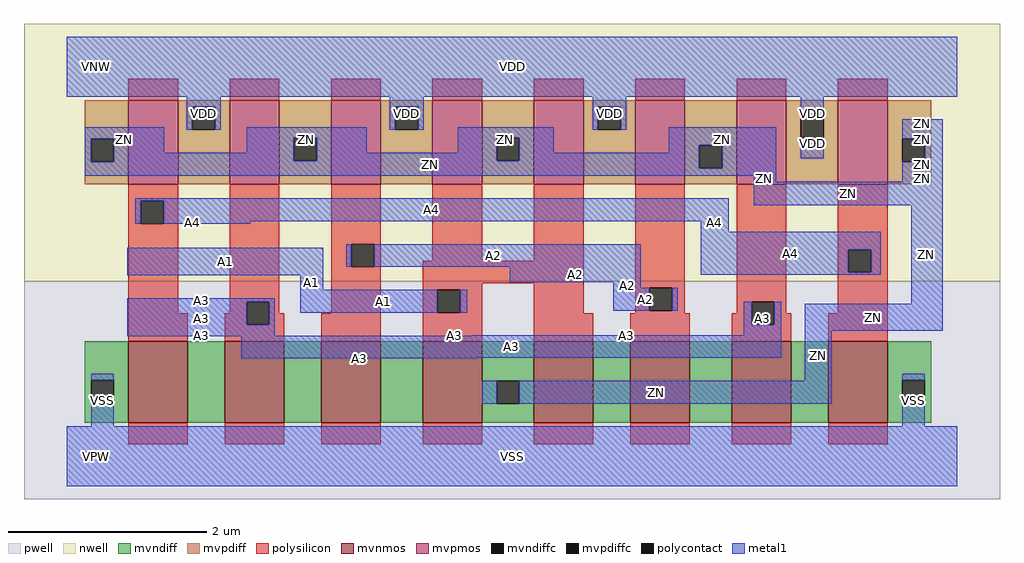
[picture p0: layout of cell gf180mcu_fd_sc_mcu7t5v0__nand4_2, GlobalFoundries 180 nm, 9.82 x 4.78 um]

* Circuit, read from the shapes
.subckt gf180mcu_fd_sc_mcu7t5v0__nand4_2 A1 A2 A3 A4 ZN VDD VNW VPW VSS
XM1 n1 A4 VSS VPW nfet_06v0 w=0.82u l=0.6u
XM2 n2 A3 n1 VPW nfet_06v0 w=0.82u l=0.6u
XM3 n3 A2 n2 VPW nfet_06v0 w=0.82u l=0.6u
XM4 ZN A1 n3 VPW nfet_06v0 w=0.82u l=0.6u
XM5 n4 A1 ZN VPW nfet_06v0 w=0.82u l=0.6u
XM6 n5 A2 n4 VPW nfet_06v0 w=0.82u l=0.6u
XM7 n6 A3 n5 VPW nfet_06v0 w=0.82u l=0.6u
XM8 VSS A4 n6 VPW nfet_06v0 w=0.82u l=0.6u
XM9 VDD A4 ZN VNW pfet_06v0 w=0.845u l=0.5u m=2
XM10 ZN A3 VDD VNW pfet_06v0 w=0.845u l=0.5u m=2
XM11 VDD A2 ZN VNW pfet_06v0 w=0.845u l=0.5u m=2
XM12 ZN A1 VDD VNW pfet_06v0 w=0.845u l=0.5u m=2
.ends

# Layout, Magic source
magic
tech gf180mcuD
magscale 1 10
<< nwell >>
rect -86 352 1878 870
<< pwell >>
rect -86 -86 1878 352
<< mvnmos >>
rect 124 68 244 232
rect 318 68 438 232
rect 512 68 632 232
rect 716 68 836 232
rect 940 68 1060 232
rect 1134 68 1254 232
rect 1338 68 1458 232
rect 1532 68 1652 232
<< mvpmos >>
rect 124 547 224 716
rect 328 547 428 716
rect 532 547 632 716
rect 736 547 836 716
rect 940 547 1040 716
rect 1144 547 1244 716
rect 1348 547 1448 716
rect 1552 547 1652 716
<< mvndiff >>
rect 36 153 124 232
rect 36 107 49 153
rect 95 107 124 153
rect 36 68 124 107
rect 244 68 318 232
rect 438 68 512 232
rect 632 68 716 232
rect 836 152 940 232
rect 836 106 865 152
rect 911 106 940 152
rect 836 68 940 106
rect 1060 68 1134 232
rect 1254 68 1338 232
rect 1458 68 1532 232
rect 1652 153 1740 232
rect 1652 107 1681 153
rect 1727 107 1740 153
rect 1652 68 1740 107
<< mvpdiff >>
rect 36 639 124 716
rect 36 593 49 639
rect 95 593 124 639
rect 36 547 124 593
rect 224 703 328 716
rect 224 657 253 703
rect 299 657 328 703
rect 224 547 328 657
rect 428 641 532 716
rect 428 595 457 641
rect 503 595 532 641
rect 428 547 532 595
rect 632 703 736 716
rect 632 657 661 703
rect 707 657 736 703
rect 632 547 736 657
rect 836 641 940 716
rect 836 595 865 641
rect 911 595 940 641
rect 836 547 940 595
rect 1040 703 1144 716
rect 1040 657 1069 703
rect 1115 657 1144 703
rect 1040 547 1144 657
rect 1244 626 1348 716
rect 1244 580 1273 626
rect 1319 580 1348 626
rect 1244 547 1348 580
rect 1448 687 1552 716
rect 1448 641 1477 687
rect 1523 641 1552 687
rect 1448 547 1552 641
rect 1652 639 1740 716
rect 1652 593 1681 639
rect 1727 593 1740 639
rect 1652 547 1740 593
<< mvndiffc >>
rect 49 107 95 153
rect 865 106 911 152
rect 1681 107 1727 153
<< mvpdiffc >>
rect 49 593 95 639
rect 253 657 299 703
rect 457 595 503 641
rect 661 657 707 703
rect 865 595 911 641
rect 1069 657 1115 703
rect 1273 580 1319 626
rect 1477 641 1523 687
rect 1681 593 1727 639
<< polysilicon >>
rect 124 716 224 760
rect 328 716 428 760
rect 532 716 632 760
rect 736 716 836 760
rect 940 716 1040 760
rect 1144 716 1244 760
rect 1348 716 1448 760
rect 1552 716 1652 760
rect 124 514 224 547
rect 124 468 149 514
rect 195 468 224 514
rect 124 288 224 468
rect 328 311 428 547
rect 328 288 362 311
rect 124 232 244 288
rect 318 265 362 288
rect 408 288 428 311
rect 532 427 632 547
rect 532 381 573 427
rect 619 381 632 427
rect 736 394 836 547
rect 940 394 1040 547
rect 532 288 632 381
rect 408 265 438 288
rect 318 232 438 265
rect 512 232 632 288
rect 716 348 1040 394
rect 716 335 836 348
rect 716 289 746 335
rect 792 289 836 335
rect 716 232 836 289
rect 940 288 1040 348
rect 1144 339 1244 547
rect 1144 293 1172 339
rect 1218 293 1244 339
rect 1144 288 1244 293
rect 1348 311 1448 547
rect 1348 288 1378 311
rect 940 232 1060 288
rect 1134 232 1254 288
rect 1338 265 1378 288
rect 1424 288 1448 311
rect 1552 416 1652 547
rect 1552 370 1573 416
rect 1619 370 1652 416
rect 1552 288 1652 370
rect 1424 265 1458 288
rect 1338 232 1458 265
rect 1532 232 1652 288
rect 124 24 244 68
rect 318 24 438 68
rect 512 24 632 68
rect 716 24 836 68
rect 940 24 1060 68
rect 1134 24 1254 68
rect 1338 24 1458 68
rect 1532 24 1652 68
<< polycontact >>
rect 149 468 195 514
rect 362 265 408 311
rect 573 381 619 427
rect 746 289 792 335
rect 1172 293 1218 339
rect 1378 265 1424 311
rect 1573 370 1619 416
<< metal1 >>
rect 0 724 1792 844
rect 242 703 310 724
rect 36 639 196 662
rect 242 657 253 703
rect 299 657 310 703
rect 650 703 718 724
rect 36 593 49 639
rect 95 611 196 639
rect 362 641 604 662
rect 650 657 661 703
rect 707 657 718 703
rect 1058 703 1126 724
rect 362 611 457 641
rect 95 595 457 611
rect 503 611 604 641
rect 787 641 980 662
rect 1058 657 1069 703
rect 1115 657 1126 703
rect 1477 687 1523 724
rect 787 611 865 641
rect 503 595 865 611
rect 911 611 980 641
rect 1211 626 1428 662
rect 1211 611 1273 626
rect 911 595 1273 611
rect 95 593 1273 595
rect 36 580 1273 593
rect 1319 580 1428 626
rect 1477 600 1523 641
rect 1681 639 1763 678
rect 36 565 1428 580
rect 1382 552 1428 565
rect 1727 593 1763 639
rect 1681 552 1763 593
rect 138 514 1332 519
rect 138 468 149 514
rect 195 473 1332 514
rect 1382 505 1763 552
rect 195 468 369 473
rect 1276 452 1332 473
rect 122 364 516 420
rect 562 381 573 427
rect 619 381 1155 427
rect 470 335 516 364
rect 891 350 1155 381
rect 1276 416 1638 452
rect 1276 370 1573 416
rect 1619 370 1638 416
rect 1276 365 1638 370
rect 1100 339 1155 350
rect 122 311 419 318
rect 122 265 362 311
rect 408 265 419 311
rect 470 289 746 335
rect 792 289 806 335
rect 1100 293 1172 339
rect 1218 293 1230 339
rect 122 243 419 265
rect 1362 265 1378 311
rect 1424 265 1438 311
rect 1699 307 1763 505
rect 1362 244 1438 265
rect 816 243 1438 244
rect 122 242 1438 243
rect 351 198 1438 242
rect 1485 253 1763 307
rect 351 197 826 198
rect 49 153 95 166
rect 1485 152 1539 253
rect 49 60 95 107
rect 836 106 865 152
rect 911 106 1539 152
rect 1681 153 1727 166
rect 1681 60 1727 107
rect 0 -60 1792 60
<< labels >>
flabel metal1 s 122 311 419 318 0 FreeSans 400 0 0 0 A3
port 3 nsew default input
flabel metal1 s 138 473 1332 519 0 FreeSans 400 0 0 0 A4
port 4 nsew default input
flabel metal1 s 0 724 1792 844 0 FreeSans 400 0 0 0 VDD
port 6 nsew power bidirectional abutment
flabel metal1 s 1681 60 1727 166 0 FreeSans 400 0 0 0 VSS
port 9 nsew ground bidirectional abutment
flabel metal1 s 1681 662 1763 678 0 FreeSans 400 0 0 0 ZN
port 5 nsew default output
flabel metal1 s 122 364 516 420 0 FreeSans 400 0 0 0 A1
port 1 nsew default input
flabel metal1 s 562 381 1155 427 0 FreeSans 400 0 0 0 A2
port 2 nsew default input
flabel nwell s 10 734 110 834 0 FreeSans 400 0 0 0 VNW
port 7 nsew power bidirectional
flabel pwell s 10 -50 110 50 0 FreeSans 400 0 0 0 VPW
port 8 nsew ground bidirectional
rlabel metal1 s 470 335 516 364 1 A1
port 1 nsew default input
rlabel metal1 s 470 289 806 335 1 A1
port 1 nsew default input
rlabel metal1 s 891 350 1155 381 1 A2
port 2 nsew default input
rlabel metal1 s 1100 339 1155 350 1 A2
port 2 nsew default input
rlabel metal1 s 1100 293 1230 339 1 A2
port 2 nsew default input
rlabel metal1 s 1362 244 1438 311 1 A3
port 3 nsew default input
rlabel metal1 s 122 244 419 311 1 A3
port 3 nsew default input
rlabel metal1 s 816 243 1438 244 1 A3
port 3 nsew default input
rlabel metal1 s 122 243 419 244 1 A3
port 3 nsew default input
rlabel metal1 s 122 242 1438 243 1 A3
port 3 nsew default input
rlabel metal1 s 351 198 1438 242 1 A3
port 3 nsew default input
rlabel metal1 s 351 197 826 198 1 A3
port 3 nsew default input
rlabel metal1 s 1276 468 1332 473 1 A4
port 4 nsew default input
rlabel metal1 s 138 468 369 473 1 A4
port 4 nsew default input
rlabel metal1 s 1276 452 1332 468 1 A4
port 4 nsew default input
rlabel metal1 s 1276 365 1638 452 1 A4
port 4 nsew default input
rlabel metal1 s 1681 611 1763 662 1 ZN
port 5 nsew default output
rlabel metal1 s 1211 611 1428 662 1 ZN
port 5 nsew default output
rlabel metal1 s 787 611 980 662 1 ZN
port 5 nsew default output
rlabel metal1 s 362 611 604 662 1 ZN
port 5 nsew default output
rlabel metal1 s 36 611 196 662 1 ZN
port 5 nsew default output
rlabel metal1 s 1681 565 1763 611 1 ZN
port 5 nsew default output
rlabel metal1 s 36 565 1428 611 1 ZN
port 5 nsew default output
rlabel metal1 s 1681 552 1763 565 1 ZN
port 5 nsew default output
rlabel metal1 s 1382 552 1428 565 1 ZN
port 5 nsew default output
rlabel metal1 s 1382 505 1763 552 1 ZN
port 5 nsew default output
rlabel metal1 s 1699 307 1763 505 1 ZN
port 5 nsew default output
rlabel metal1 s 1485 253 1763 307 1 ZN
port 5 nsew default output
rlabel metal1 s 1485 152 1539 253 1 ZN
port 5 nsew default output
rlabel metal1 s 836 106 1539 152 1 ZN
port 5 nsew default output
rlabel metal1 s 1477 657 1523 724 1 VDD
port 6 nsew power bidirectional abutment
rlabel metal1 s 1058 657 1126 724 1 VDD
port 6 nsew power bidirectional abutment
rlabel metal1 s 650 657 718 724 1 VDD
port 6 nsew power bidirectional abutment
rlabel metal1 s 242 657 310 724 1 VDD
port 6 nsew power bidirectional abutment
rlabel metal1 s 1477 600 1523 657 1 VDD
port 6 nsew power bidirectional abutment
rlabel metal1 s 49 60 95 166 1 VSS
port 9 nsew ground bidirectional abutment
rlabel metal1 s 0 -60 1792 60 1 VSS
port 9 nsew ground bidirectional abutment
<< properties >>
string FIXED_BBOX 0 0 1792 784
string GDS_END 730428
string GDS_FILE $PDKPATH/libs.ref/gf180mcu_fd_sc_mcu7t5v0/gds/gf180mcu_fd_sc_mcu7t5v0.gds
string GDS_START 725998
string LEFclass core
string LEFsite GF018hv5v_mcu_sc7
string LEFsymmetry X Y
<< end >>
